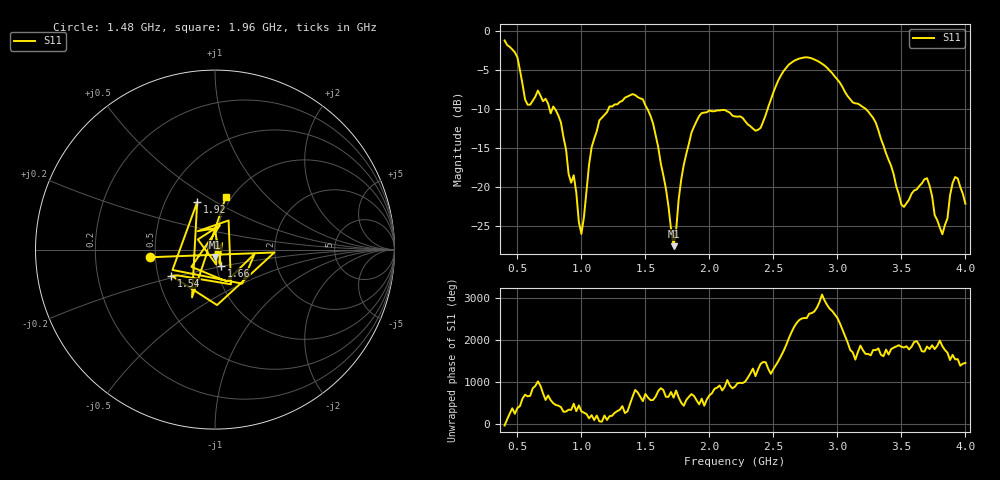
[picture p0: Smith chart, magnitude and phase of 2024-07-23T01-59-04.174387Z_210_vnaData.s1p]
!Created with skrf (http://scikit-rf.org).
# Hz S RI R 50.0
!freq ReS11 ImS11
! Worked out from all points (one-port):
!   181 points, 400 MHz to 4 GHz, reference 50 ohm
!   lowest |S11| = -27.7 dB at 1.72 GHz (marker M1), VSWR 1.09, Z = 49.9 - j4.14 ohm
!   |S11| at or under -10 dB: 790.7 MHz to 1.213 GHz (421.9 MHz wide, 42.1 % of centre); 1.513 GHz to 2.456 GHz (942.4 MHz wide, 47.5 % of centre); 3.218 GHz to end of sweep (the widest 3 of 4)
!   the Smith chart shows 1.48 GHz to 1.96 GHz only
!   S11 on the Smith chart (normalised r, x): 1.48 GHz: 0.47, -0.05; 1.54 GHz: 0.59, -0.19; 1.66 GHz: 1.05, -0.19; 1.92 GHz: 0.72, +0.41; 1.96 GHz: 0.94, +0.60
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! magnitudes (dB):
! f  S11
! 400 MHz  -1.3
! 500 MHz  -3.4
! 580 MHz  -9.5
! 660 MHz  -7.7
! 860 MHz  -13.7
! 940 MHz  -18.6
! 1 GHz  -26.1
! 1.08 GHz  -15.0
! 1.14 GHz  -11.5
! 1.3 GHz  -9.2
! 1.48 GHz  -8.8
! 1.54 GHz  -11.0
! 1.66 GHz  -20.2
! 1.72 GHz  -27.7
! 1.76 GHz  -21.6
! 1.92 GHz  -11.0
! 1.96 GHz  -10.5
! 2.2 GHz  -11.0
! 2.4 GHz  -12.5
! 2.66 GHz  -3.9
! 3.1 GHz  -8.8
! 3.28 GHz  -11.2
! 3.5 GHz  -22.3
! 3.56 GHz  -21.7
! 3.7 GHz  -18.9
! 3.82 GHz  -26.1
! 3.92 GHz  -18.8
! 4 GHz  -22.2
